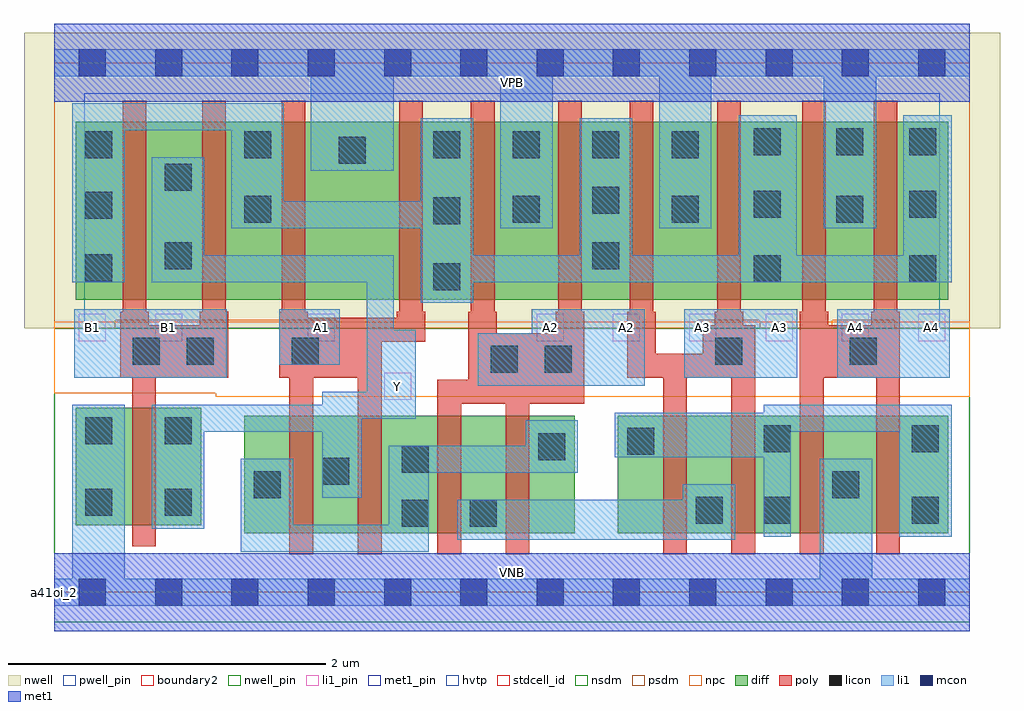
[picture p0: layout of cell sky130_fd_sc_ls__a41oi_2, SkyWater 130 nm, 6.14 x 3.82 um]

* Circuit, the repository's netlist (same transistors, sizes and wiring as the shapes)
* Copyright 2020 The SkyWater PDK Authors
*
* Licensed under the Apache License, Version 2.0 (the "License");
* you may not use this file except in compliance with the License.
* You may obtain a copy of the License at
*
*     https://www.apache.org/licenses/LICENSE-2.0
*
* Unless required by applicable law or agreed to in writing, software
* distributed under the License is distributed on an "AS IS" BASIS,
* WITHOUT WARRANTIES OR CONDITIONS OF ANY KIND, either express or implied.
* See the License for the specific language governing permissions and
* limitations under the License.
*
* SPDX-License-Identifier: Apache-2.0

.SUBCKT sky130_fd_sc_ls__a41oi_2 A1 A2 A3 A4 B1 VGND VNB VPB VPWR Y
*.PININFO A1:I A2:I A3:I A4:I B1:I VGND:I VNB:I VPB:I VPWR:I Y:O
MMPA0 pndA A1 VPWR VPB sky130_fd_pr__pfet_01v8_hvt m=2 w=1.12U l=0.15U mult=1 sa=0.265
+ sb=0.265 sd=0.28 area=0.063 perim=1.14
MMPA1 pndA A2 VPWR VPB sky130_fd_pr__pfet_01v8_hvt m=2 w=1.12U l=0.15U mult=1 sa=0.265
+ sb=0.265 sd=0.28 area=0.063 perim=1.14
MMPA2 pndA A3 VPWR VPB sky130_fd_pr__pfet_01v8_hvt m=2 w=1.12U l=0.15U mult=1 sa=0.265
+ sb=0.265 sd=0.28 area=0.063 perim=1.14
MMPA3 pndA A4 VPWR VPB sky130_fd_pr__pfet_01v8_hvt m=2 w=1.12U l=0.15U mult=1 sa=0.265
+ sb=0.265 sd=0.28 area=0.063 perim=1.14
MMPB0 Y B1 pndA VPB sky130_fd_pr__pfet_01v8_hvt m=2 w=1.12U l=0.15U mult=1 sa=0.265
+ sb=0.265 sd=0.28 area=0.063 perim=1.14
MMNA0 Y A1 sndA1 VNB sky130_fd_pr__nfet_01v8 m=2 w=0.74U l=0.15U mult=1 sa=0.265
+ sb=0.265 sd=0.28 area=0.063 perim=1.14
MMNA1 sndA1 A2 sndA2 VNB sky130_fd_pr__nfet_01v8 m=2 w=0.74U l=0.15U mult=1 sa=0.265
+ sb=0.265 sd=0.28 area=0.063 perim=1.14
MMNA2 sndA2 A3 sndA3 VNB sky130_fd_pr__nfet_01v8 m=2 w=0.74U l=0.15U mult=1 sa=0.265
+ sb=0.265 sd=0.28 area=0.063 perim=1.14
MMNA3 sndA3 A4 VGND VNB sky130_fd_pr__nfet_01v8 m=2 w=0.74U l=0.15U mult=1 sa=0.265
+ sb=0.265 sd=0.28 area=0.063 perim=1.14
MMNB0 Y B1 VGND VNB sky130_fd_pr__nfet_01v8 m=1 w=0.74U l=0.15U mult=1 sa=0.265
+ sb=0.265 sd=0.28 area=0.063 perim=1.14
.ENDS sky130_fd_sc_ls__a41oi_2

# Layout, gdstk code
import gdstk
lib = gdstk.Library(unit=1e-6, precision=1e-09)
def R(c, l, rs):  # rectangles x0, y0, x1, y1
    for r in rs: c.add(gdstk.rectangle(r[:2], r[2:], *l))
def A(c, l, x, y, w, h, nx, ny, dx, dy):  # array of equal rectangles
    R(c, l, [(x+i*dx, y+j*dy, x+i*dx+w, y+j*dy+h) for i in range(nx) for j in range(ny)])
def P(c, l, *ps):  # polygons
    for p in ps: c.add(gdstk.Polygon(p, *l))
nwell_pin = (64, 16)
nwell = (64, 20)
diff = (65, 20)
poly = (66, 20)
licon = (66, 44)
li1_pin = (67, 16)
li1 = (67, 20)
mcon = (67, 44)
met1_pin = (68, 16)
met1 = (68, 20)
hvtp = (78, 44)
stdcell_id = (81, 4)
nsdm = (93, 44)
psdm = (94, 20)
npc = (95, 20)
pwell_pin = (122, 16)
boundary2 = (236, 0)

sky130_fd_sc_ls__a41oi_2 = lib.new_cell('sky130_fd_sc_ls__a41oi_2')
R(sky130_fd_sc_ls__a41oi_2, nwell_pin, [(0,3.085,5.76,3.33)])
R(sky130_fd_sc_ls__a41oi_2, nwell, [(-0.19,1.66,5.95,3.52)])
R(sky130_fd_sc_ls__a41oi_2, diff, [(1.195,0.37,3.275,1.11), (3.545,0.37,5.625,1.11), (0.135,0.42,0.925,1.16), (0.135,1.84,5.625,2.96)])
P(sky130_fd_sc_ls__a41oi_2, poly, [(5.32,1.765),(5.305,1.765),(5.305,3.09),(5.155,3.09),(5.155,1.765),(5.14,1.765),(5.14,1.68),(4.87,1.68),(4.87,1.765),(4.855,1.765),(4.855,3.09),(4.705,3.09),(4.705,1.765),(4.69,1.765),(4.69,0.24),(4.84,0.24),(4.84,1.35),(5.17,1.35),(5.17,0.24),(5.32,0.24)],
  [(4.41,1.68),(4.335,1.68),(4.335,1.765),(4.32,1.765),(4.32,3.09),(4.17,3.09),(4.17,1.765),(4.155,1.765),(4.155,1.68),(4.08,1.68),(4.08,1.5),(3.785,1.5),(3.785,1.765),(3.77,1.765),(3.77,3.09),(3.62,3.09),(3.62,1.765),(3.605,1.765),(3.605,1.35),(3.83,1.35),(3.83,0.24),(3.98,0.24),(3.98,1.35),(4.26,1.35),(4.26,0.24),(4.41,0.24)],
  [(3.335,1.765),(3.32,1.765),(3.32,3.09),(3.17,3.09),(3.17,1.765),(3.155,1.765),(3.155,1.63),(2.785,1.63),(2.785,1.765),(2.77,1.765),(2.77,3.09),(2.62,3.09),(2.62,1.765),(2.605,1.765),(2.605,1.335),(2.41,1.335),(2.41,0.24),(2.56,0.24),(2.56,1.185),(2.84,1.185),(2.84,0.24),(2.99,0.24),(2.99,1.185),(3.335,1.185)],
  [(2.335,1.765),(2.32,1.765),(2.32,3.09),(2.17,3.09),(2.17,1.765),(2.155,1.765),(2.155,1.725),(1.595,1.725),(1.595,1.765),(1.58,1.765),(1.58,3.09),(1.43,3.09),(1.43,1.765),(1.415,1.765),(1.415,1.35),(1.48,1.35),(1.48,0.24),(1.63,0.24),(1.63,1.35),(1.91,1.35),(1.91,0.24),(2.06,0.24),(2.06,1.575),(2.335,1.575)],
  [(1.095,1.765),(1.08,1.765),(1.08,3.09),(0.93,3.09),(0.93,1.765),(0.915,1.765),(0.915,1.68),(0.595,1.68),(0.595,1.765),(0.58,1.765),(0.58,3.09),(0.43,3.09),(0.43,1.765),(0.415,1.765),(0.415,1.35),(0.49,1.35),(0.49,0.29),(0.64,0.29),(0.64,1.35),(1.095,1.35)])
A(sky130_fd_sc_ls__a41oi_2, licon, 2.385, 2.73, 0.17, 0.17, 4, 1, 0.5, 0)
R(sky130_fd_sc_ls__a41oi_2, licon, [(2.185,0.41,2.355,0.58), (2.615,0.41,2.785,0.58), (4.035,0.43,4.205,0.6), (4.465,0.43,4.635,0.6), (5.395,0.43,5.565,0.6), (0.195,0.48,0.365,0.65), (0.695,0.48,0.865,0.65), (1.255,0.59,1.425,0.76), (4.895,0.59,5.065,0.76), (1.685,0.675,1.855,0.845), (2.185,0.75,2.355,0.92), (3.045,0.83,3.215,1), (3.605,0.865,3.775,1.035), (4.465,0.88,4.635,1.05), (5.395,0.88,5.565,1.05), (0.195,0.93,0.365,1.1), (0.695,0.93,0.865,1.1), (2.745,1.38,2.915,1.55), (3.085,1.38,3.255,1.55), (0.495,1.43,0.665,1.6), (0.835,1.43,1.005,1.6), (1.495,1.43,1.665,1.6), (4.16,1.43,4.33,1.6), (5.005,1.43,5.175,1.6), (2.385,1.9,2.555,2.07), (4.4,1.95,4.57,2.12), (5.38,1.95,5.55,2.12), (0.195,1.955,0.365,2.125), (0.695,2.03,0.865,2.2), (3.385,2.03,3.555,2.2), (2.385,2.315,2.555,2.485), (1.195,2.325,1.365,2.495), (2.885,2.325,3.055,2.495), (3.885,2.325,4.055,2.495), (4.92,2.325,5.09,2.495), (0.195,2.35,0.365,2.52), (4.4,2.355,4.57,2.525), (5.38,2.355,5.55,2.525), (3.385,2.38,3.555,2.55), (0.695,2.525,0.865,2.695), (1.79,2.695,1.96,2.865), (0.195,2.73,0.365,2.9), (1.195,2.73,1.365,2.9), (4.4,2.75,4.57,2.92), (4.92,2.75,5.09,2.92), (5.38,2.75,5.55,2.92)])
A(sky130_fd_sc_ls__a41oi_2, li1_pin, 3.035, 1.58, 0.17, 0.17, 6, 1, 0.48, 0)
R(sky130_fd_sc_ls__a41oi_2, li1_pin, [(2.075,1.21,2.245,1.38), (0.155,1.58,0.325,1.75), (0.635,1.58,0.805,1.75), (1.595,1.58,1.765,1.75)])
R(sky130_fd_sc_ls__a41oi_2, li1, [(0.125,1.35,1.085,1.78), (3.965,1.35,4.675,1.78), (4.925,1.35,5.635,1.78), (1.415,1.43,1.795,1.78), (5.34,2.03,5.645,3), (4.305,2.12,4.67,3)])
P(sky130_fd_sc_ls__a41oi_2, li1, [(0,-0.085),(0,0.085),(0.115,0.085),(0.115,1.18),(0.445,1.18),(0.445,0.085),(4.815,0.085),(4.815,0.84),(5.145,0.84),(5.145,0.085),(5.76,0.085),(5.76,-0.085)],
  [(0,3.245),(0,3.415),(5.76,3.415),(5.76,3.245),(5.17,3.245),(5.17,2.29),(4.84,2.29),(4.84,3.245),(4.135,3.245),(4.135,2.29),(3.805,2.29),(3.805,3.245),(3.135,3.245),(3.135,2.29),(2.805,2.29),(2.805,3.245),(2.135,3.245),(2.135,2.65),(1.615,2.65),(1.615,3.245)],
  [(1.965,1.26),(1.965,1.95),(0.615,1.95),(0.615,2.735),(0.945,2.735),(0.945,2.12),(2.135,2.12),(2.135,1.65),(2.275,1.65),(2.275,1.09),(1.935,1.09),(1.935,0.595),(1.685,0.595),(1.685,1.01),(0.945,1.01),(0.945,0.4),(0.615,0.4),(0.615,1.18),(1.685,1.18),(1.685,1.26)],
  [(2.665,1.3),(2.665,1.63),(3.005,1.63),(3.005,1.78),(3.715,1.78),(3.715,1.3)],
  [(5.645,2.12),(5.645,1.95),(2.635,1.95),(2.635,1.82),(2.305,1.82),(2.305,2.29),(1.115,2.29),(1.115,2.905),(0.445,2.905),(0.445,1.95),(0.115,1.95),(0.115,3.075),(1.445,3.075),(1.445,2.46),(2.305,2.46),(2.305,2.98),(2.635,2.98),(2.635,2.12),(3.305,2.12),(3.305,2.98),(3.635,2.98),(3.635,2.12)],
  [(5.315,1.01),(4.635,1.01),(4.635,0.35),(4.465,0.35),(4.465,0.85),(3.525,0.85),(3.525,1.13),(4.465,1.13),(4.465,1.18),(5.645,1.18),(5.645,0.35),(5.315,0.35)],
  [(2.535,0.33),(2.535,0.58),(3.955,0.58),(3.955,0.68),(4.285,0.68),(4.285,0.33)],
  [(2.355,0.75),(2.355,0.255),(1.175,0.255),(1.175,0.84),(1.505,0.84),(1.505,0.425),(2.105,0.425),(2.105,0.92),(2.965,0.92),(2.965,1.08),(3.295,1.08),(3.295,0.75)])
A(sky130_fd_sc_ls__a41oi_2, mcon, 0.155, -0.085, 0.17, 0.17, 12, 2, 0.48, 3.33)
R(sky130_fd_sc_ls__a41oi_2, met1_pin, [(0,0,5.76,0.245), (0,3.085,5.76,3.33)])
R(sky130_fd_sc_ls__a41oi_2, met1, [(0,-0.245,5.76,0.245), (0,3.085,5.76,3.575)])
R(sky130_fd_sc_ls__a41oi_2, hvtp, [(0.19,1.66,5.57,3.14)])
R(sky130_fd_sc_ls__a41oi_2, stdcell_id, [(0,0,5.76,3.33)])
R(sky130_fd_sc_ls__a41oi_2, nsdm, [(0,-0.19,5.76,1.66)])
P(sky130_fd_sc_ls__a41oi_2, psdm, [(5.76,3.52),(0,3.52),(0,1.66),(0.385,1.66),(0.385,1.71),(1.775,1.71),(1.775,1.66),(4.05,1.66),(4.05,1.71),(4.44,1.71),(4.44,1.66),(4.895,1.66),(4.895,1.71),(5.285,1.71),(5.285,1.66),(5.76,1.66)])
P(sky130_fd_sc_ls__a41oi_2, npc, [(5.76,1.7),(0,1.7),(0,1.25),(1.015,1.25),(1.015,1.23),(5.76,1.23)])
R(sky130_fd_sc_ls__a41oi_2, pwell_pin, [(0,0,5.76,0.245)])
R(sky130_fd_sc_ls__a41oi_2, boundary2, [(0,0,5.76,3.33)])
sky130_fd_sc_ls__a41oi_2.add(gdstk.Label('a41oi_2', (0,0), layer=83, texttype=44))
sky130_fd_sc_ls__a41oi_2.add(gdstk.Label('VNB', (2.88,0.123), layer=64, texttype=59))
sky130_fd_sc_ls__a41oi_2.add(gdstk.Label('VPB', (2.88,3.208), layer=64, texttype=5))
sky130_fd_sc_ls__a41oi_2.add(gdstk.Label('VPWR', (2.88,3.208), layer=68, texttype=5))
sky130_fd_sc_ls__a41oi_2.add(gdstk.Label('VGND', (2.88,0.123), layer=68, texttype=5))
sky130_fd_sc_ls__a41oi_2.add(gdstk.Label('A1', (1.68,1.665), layer=67, texttype=5))
sky130_fd_sc_ls__a41oi_2.add(gdstk.Label('Y', (2.16,1.295), layer=67, texttype=5))
sky130_fd_sc_ls__a41oi_2.add(gdstk.Label('A2', (3.12,1.665), layer=67, texttype=5))
sky130_fd_sc_ls__a41oi_2.add(gdstk.Label('A2', (3.6,1.665), layer=67, texttype=5))
sky130_fd_sc_ls__a41oi_2.add(gdstk.Label('A3', (4.08,1.665), layer=67, texttype=5))
sky130_fd_sc_ls__a41oi_2.add(gdstk.Label('A3', (4.56,1.665), layer=67, texttype=5))
sky130_fd_sc_ls__a41oi_2.add(gdstk.Label('A4', (5.04,1.665), layer=67, texttype=5))
sky130_fd_sc_ls__a41oi_2.add(gdstk.Label('A4', (5.52,1.665), layer=67, texttype=5))
sky130_fd_sc_ls__a41oi_2.add(gdstk.Label('B1', (0.24,1.665), layer=67, texttype=5))
sky130_fd_sc_ls__a41oi_2.add(gdstk.Label('B1', (0.72,1.665), layer=67, texttype=5))

lib.write_gds('sky130_fd_sc_ls__a41oi_2.gds')
